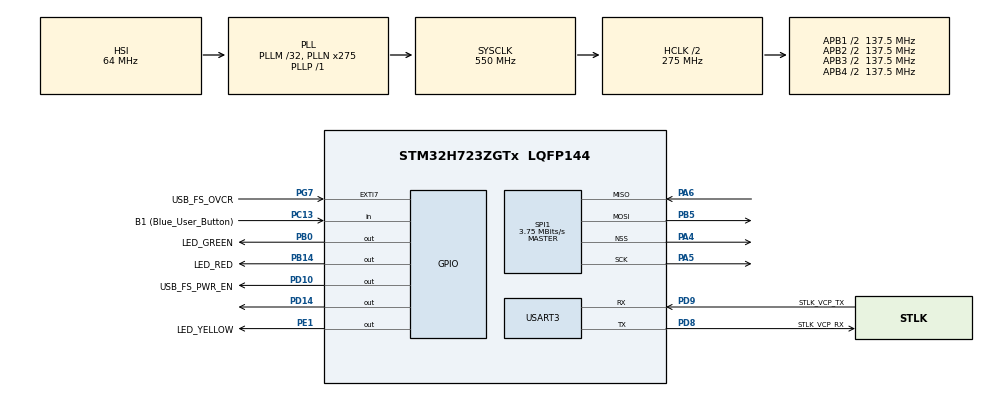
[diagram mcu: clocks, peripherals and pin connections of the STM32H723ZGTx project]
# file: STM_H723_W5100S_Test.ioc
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CORTEX_M7.CPU_DCache=Disabled
CORTEX_M7.CPU_ICache=Disabled
Dma.Request0=SPI1_RX
Dma.Request1=SPI1_TX
Dma.SPI1_RX.0.Direction=DMA_PERIPH_TO_MEMORY
Dma.SPI1_RX.0.EventEnable=DISABLE
Dma.SPI1_RX.0.FIFOMode=DMA_FIFOMODE_DISABLE
Dma.SPI1_RX.0.Instance=DMA1_Stream0
Dma.SPI1_RX.0.MemDataAlignment=DMA_MDATAALIGN_BYTE
Dma.SPI1_RX.0.MemInc=DMA_MINC_ENABLE
Dma.SPI1_RX.0.Mode=DMA_NORMAL
Dma.SPI1_RX.0.PeriphDataAlignment=DMA_PDATAALIGN_BYTE
Dma.SPI1_RX.0.PeriphInc=DMA_PINC_DISABLE
Dma.SPI1_RX.0.Polarity=HAL_DMAMUX_REQ_GEN_RISING
Dma.SPI1_RX.0.Priority=DMA_PRIORITY_VERY_HIGH
Dma.SPI1_RX.0.RequestNumber=1
Dma.SPI1_RX.0.SignalID=NONE
Dma.SPI1_RX.0.SyncEnable=DISABLE
Dma.SPI1_RX.0.SyncPolarity=HAL_DMAMUX_SYNC_NO_EVENT
Dma.SPI1_RX.0.SyncRequestNumber=1
Dma.SPI1_RX.0.SyncSignalID=NONE
Dma.SPI1_TX.1.Direction=DMA_MEMORY_TO_PERIPH
Dma.SPI1_TX.1.EventEnable=DISABLE
Dma.SPI1_TX.1.FIFOMode=DMA_FIFOMODE_DISABLE
Dma.SPI1_TX.1.Instance=DMA1_Stream1
Dma.SPI1_TX.1.MemDataAlignment=DMA_MDATAALIGN_BYTE
Dma.SPI1_TX.1.MemInc=DMA_MINC_ENABLE
Dma.SPI1_TX.1.Mode=DMA_NORMAL
Dma.SPI1_TX.1.PeriphDataAlignment=DMA_PDATAALIGN_BYTE
Dma.SPI1_TX.1.PeriphInc=DMA_PINC_DISABLE
Dma.SPI1_TX.1.Polarity=HAL_DMAMUX_REQ_GEN_RISING
Dma.SPI1_TX.1.Priority=DMA_PRIORITY_VERY_HIGH
Dma.SPI1_TX.1.RequestNumber=1
Dma.SPI1_TX.1.SignalID=NONE
Dma.SPI1_TX.1.SyncEnable=DISABLE
Dma.SPI1_TX.1.SyncPolarity=HAL_DMAMUX_SYNC_NO_EVENT
Dma.SPI1_TX.1.SyncRequestNumber=1
Dma.SPI1_TX.1.SyncSignalID=NONE
Mcu.Family=STM32H7
Mcu.Name=STM32H723ZGTx
Mcu.Package=LQFP144
NVIC.DMA1_Stream0_IRQn=true\:0\:0\:false\:false\:true\:false\:true\:true
NVIC.DMA1_Stream1_IRQn=true\:0\:0\:false\:false\:true\:false\:true\:true
NVIC.PriorityGroup=NVIC_PRIORITYGROUP_4
NVIC.SPI1_IRQn=true\:0\:0\:false\:false\:true\:true\:true\:true
NVIC.USART3_IRQn=true\:0\:0\:false\:false\:true\:true\:true\:true
PA13(JTMS/SWDIO).GPIO_Label=SWDIO
PA13(JTMS/SWDIO).Mode=Trace_Asynchronous_SW
PA13(JTMS/SWDIO).Signal=DEBUG_JTMS-SWDIO
PA14(JTCK/SWCLK).GPIO_Label=SWCLK
PA14(JTCK/SWCLK).Mode=Trace_Asynchronous_SW
PA14(JTCK/SWCLK).Signal=DEBUG_JTCK-SWCLK
PA4.Mode=NSS_Signal_Hard_Output
PA4.Signal=SPI1_NSS
PA5.Mode=Full_Duplex_Master
PA5.Signal=SPI1_SCK
PA6.Mode=Full_Duplex_Master
PA6.Signal=SPI1_MISO
PB0.GPIO_Label=LED_GREEN
PB0.Signal=GPIO_Output
PB14.GPIO_Label=LED_RED
PB14.Signal=GPIO_Output
PB3(JTDO/TRACESWO).GPIO_Label=SWO
PB3(JTDO/TRACESWO).Mode=Trace_Asynchronous_SW
PB3(JTDO/TRACESWO).Signal=DEBUG_JTDO-SWO
PB5.Mode=Full_Duplex_Master
PB5.Signal=SPI1_MOSI
PC13.GPIO_Label=B1 (Blue_User_Button)
PC13.Signal=GPIO_Input
PC14-OSC32_IN.Mode=LSE-External-Oscillator
PC14-OSC32_IN.Signal=RCC_OSC32_IN
PC15-OSC32_OUT.Mode=LSE-External-Oscillator
PC15-OSC32_OUT.Signal=RCC_OSC32_OUT
PD10.GPIO_Label=USB_FS_PWR_EN
PD10.Signal=GPIO_Output
PD14.Signal=GPIO_Output
PD8.GPIO_Label=STLK_VCP_RX
PD8.Mode=Asynchronous
PD8.Signal=USART3_TX
PD9.GPIO_Label=STLK_VCP_TX
PD9.Mode=Asynchronous
PD9.Signal=USART3_RX
PE1.GPIO_Label=LED_YELLOW
PE1.Signal=GPIO_Output
PG7.GPIO_Label=USB_FS_OVCR
PG7.Signal=GPXTI7
PH0-OSC_IN.GPIO_Label=MCO
PH0-OSC_IN.Mode=HSE-External-Clock-Source
PH0-OSC_IN.Signal=RCC_OSC_IN
ProjectManager.HeapSize=0x200
ProjectManager.StackSize=0x400
ProjectManager.TargetToolchain=STM32CubeIDE
RCC.ADCFreq_Value=120000000
RCC.APB1Freq_Value=137500000
RCC.APB2Freq_Value=137500000
RCC.APB3Freq_Value=137500000
RCC.APB4Freq_Value=137500000
RCC.CortexFreq_Value=550000000
RCC.D1PPRE=RCC_APB3_DIV2
RCC.D2PPRE1=RCC_APB1_DIV2
RCC.D2PPRE2=RCC_APB2_DIV2
RCC.D3PPRE=RCC_APB4_DIV2
RCC.DIVM2=4
RCC.DIVN1=275
RCC.DIVN2=30
RCC.DIVP1=1
RCC.DIVP2=4
RCC.DIVQ1=4
RCC.DIVQ2=4
RCC.HCLKFreq_Value=275000000
RCC.HPRE=RCC_HCLK_DIV2
RCC.HSE_VALUE=8000000
RCC.PLL2FRACN=0
RCC.PLL3FRACN=0
RCC.PLLFRACN=0
RCC.SPI123CLockSelection=RCC_SPI123CLKSOURCE_PLL2
RCC.SYSCLKFreq_VALUE=550000000
RCC.SYSCLKSource=RCC_SYSCLKSOURCE_PLLCLK
RCC.USBCLockSelection=RCC_USBCLKSOURCE_HSI48
RCC.USBFreq_Value=48000000
SPI1.BaudRatePrescaler=SPI_BAUDRATEPRESCALER_32
SPI1.CalculateBaudRate=3.75 MBits/s
SPI1.DataSize=SPI_DATASIZE_8BIT
SPI1.Direction=SPI_DIRECTION_2LINES
SPI1.Mode=SPI_MODE_MASTER
SPI1.VirtualNSS=VM_NSSHARD
SPI1.VirtualType=VM_MASTER
USART3.VirtualMode-Asynchronous=VM_ASYNC
board=NUCLEO-H723ZG

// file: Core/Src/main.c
/* USER CODE BEGIN Header */
/**
  ******************************************************************************
  * @file           : main.c
  * @brief          : Main program body
  ******************************************************************************
  * @attention
  *
  * Copyright (c) 2023 STMicroelectronics.
  * All rights reserved.
  *
  * This software is licensed under terms that can be found in the LICENSE file
  * in the root directory of this software component.
  * If no LICENSE file comes with this software, it is provided AS-IS.
  *
  ******************************************************************************
  */
/* USER CODE END Header */
#include "main.h"

/* USER CODE BEGIN Includes */
#include "stdio.h"
#include "string.h"
#include "stdlib.h"
#include "loopback.h"
#include "wizchip_conf.h"
#define ETH_MAX_BUF_SIZE 2048

/* USER CODE END Includes */

SPI_HandleTypeDef hspi1;
DMA_HandleTypeDef hdma_spi1_rx;
DMA_HandleTypeDef hdma_spi1_tx;

UART_HandleTypeDef huart3;

/* USER CODE BEGIN PV */
wiz_NetInfo defaultNetInfo = { .mac = {0x00,0x08,0xdc,0xff,0xee,0xdd},
							.ip = {192,168,15,111},
							.sn = {255,255,255,0},
							.gw = {192,168,15,1},
							.dns = {168, 126, 63, 1},
							.dhcp = NETINFO_STATIC};

unsigned char gServer_IP[4] = {192,168,15,4};
unsigned char ethBuf0[ETH_MAX_BUF_SIZE];
/* USER CODE END PV */

void SystemClock_Config(void);
static void MX_GPIO_Init(void);
static void MX_DMA_Init(void);
static void MX_USART3_UART_Init(void);
static void MX_SPI1_Init(void);
/* USER CODE BEGIN PFP */
uint8_t rxData[2];
uint8_t SPI_tx_buff[1024] = {0,};
uint8_t SPI_rx_buff[1024] = {0,};
uint8_t SPI_DMA_flag = 0;
//HAL_StatusTypeDef HAL_SPI_TransmitReceive_DMA_1(SPI_HandleTypeDef *hspi, const uint8_t *pTxData, uint8_t *pRxData,
//		uint16_t TxSize,uint16_t RxSize);
int _write(int fd, char *str, int len)
{
	for(int i=0; i<len; i++)
	{
		HAL_UART_Transmit(&huart3, (uint8_t *)&str[i], 1, 0xFFFF);
	}
	return len;
}

void HAL_UART_RxCpltCallback(UART_HandleTypeDef *huart) {

    /*
        This will be called once data is received successfully,
        via interrupts.
    */

     /*
       loop back received data
     */
     HAL_UART_Receive_IT(&huart3, rxData, 1);
     HAL_UART_Transmit(&huart3, rxData, 1, 1000);
}
void HAL_SPI_TxRxCpltCallback(SPI_HandleTypeDef *hspi)
{
	//printf("SPI DMA Complete\r\n");
	SPI_DMA_flag = 1;
}
void HAL_SPI_TxCpltCallback(SPI_HandleTypeDef *hspi)
{
	SPI_DMA_flag = 1;
}
//HAL_SPI_TxRxCpltCallback(SPI_HandleTypeDef *hspi)
//void HAL_SPI_TxCpltCallback(SPI_HandleTypeDef *hspi)
//void HAL_SPI_RxCpltCallback(SPI_HandleTypeDef *hspi)
#define GPIO_CS 0
void csEnable(void)
{
#if GPIO_CS
	HAL_GPIO_WritePin(GPIOD, GPIO_PIN_14, GPIO_PIN_RESET);
#endif
}

void csDisable(void)
{
#if GPIO_CS
	HAL_GPIO_WritePin(GPIOD, GPIO_PIN_14, GPIO_PIN_SET);
#endif
}
uint8_t dma_write_data(uint16_t address, uint8_t *buff, uint16_t len)
{

	uint8_t *temp_pbuf = NULL;
	uint8_t *pbuf = (uint8_t*)calloc(len + 4, sizeof(uint8_t));
	temp_pbuf = pbuf;
	*temp_pbuf++ = 0xF0;
	*temp_pbuf++ = (address & 0xFF00)>>8;
	*temp_pbuf++ = (address & 0x00FF);
	memcpy(temp_pbuf, buff, len);
	SPI_DMA_flag = 0;
	HAL_SPI_Transmit_DMA(&hspi1, pbuf, len+3);
	while(SPI_DMA_flag == 0);
	free(pbuf);
	return 0;
}
uint8_t dma_read_data(uint16_t address, uint8_t *buff, uint16_t len)
{
	//uint8_t temp_pbuf[3] = {0,};
	//uint8_t *pbuf = (uint8_t*)calloc(len + 4, sizeof(uint8_t));
	uint8_t *temp_pbuf = (uint8_t*)calloc(len + 4, sizeof(uint8_t));
	temp_pbuf[0] = 0x0F;
	temp_pbuf[1] = (address & 0xFF00)>>8;
	temp_pbuf[2] = (address & 0x00FF);
	//memcpy(temp_pbuf, buff, len);
	//HAL_SPI_TransmitReceive_DMA_1(&hspi1,temp_pbuf, buff, 3, len);
	SPI_DMA_flag = 0;
	while (HAL_SPI_TransmitReceive_DMA(&hspi1,temp_pbuf, SPI_rx_buff, len + 3) != HAL_OK);
	while(SPI_DMA_flag == 0);
	memcpy(buff,SPI_rx_buff + 3, len);
	free(temp_pbuf);
	//free(pbuf);
	return len;
}
void spiWriteByte(uint8_t tx)
{
	uint8_t rx;
	HAL_SPI_TransmitReceive(&hspi1, &tx, &rx, 1, 10);
}

uint8_t spiReadByte(void)
{
	uint8_t rx = 0, tx = 0xFF;
	HAL_SPI_TransmitReceive(&hspi1, &tx, &rx, 1, 10);
	return rx;
}
void spiBustWriteByte(uint8_t *buf, uint16_t len)
{
	HAL_SPI_Transmit_DMA(&hspi1, buf, len);
}
void spiBustReadByte(uint8_t *buf, uint16_t len)
{
	HAL_SPI_Receive_DMA(&hspi1, buf, len);
	//HAL_SPI_TransmitReceive_DMA
}
void print_network_information()
{
	wiz_NetInfo gWIZNETINFO;
	wizchip_getnetinfo(&gWIZNETINFO);

	printf("Mac address: %02x:%02x:%02x:%02x:%02x:%02x\n\r",gWIZNETINFO.mac[0],gWIZNETINFO.mac[1],gWIZNETINFO.mac[2],gWIZNETINFO.mac[3],gWIZNETINFO.mac[4],gWIZNETINFO.mac[5]);
	printf("IP address : %d.%d.%d.%d\n\r",gWIZNETINFO.ip[0],gWIZNETINFO.ip[1],gWIZNETINFO.ip[2],gWIZNETINFO.ip[3]);
	printf("SM Mask	   : %d.%d.%d.%d\n\r",gWIZNETINFO.sn[0],gWIZNETINFO.sn[1],gWIZNETINFO.sn[2],gWIZNETINFO.sn[3]);
	printf("Gate way   : %d.%d.%d.%d\n\r",gWIZNETINFO.gw[0],gWIZNETINFO.gw[1],gWIZNETINFO.gw[2],gWIZNETINFO.gw[3]);
	printf("DNS Server : %d.%d.%d.%d\n\r",gWIZNETINFO.dns[0],gWIZNETINFO.dns[1],gWIZNETINFO.dns[2],gWIZNETINFO.dns[3]);
}

void Display_Net_Conf()
{
	uint8_t tmpstr[6] = {0,};
	wiz_NetInfo gWIZNETINFO;

	ctlnetwork(CN_GET_NETINFO, (void*) &gWIZNETINFO);
	ctlwizchip(CW_GET_ID,(void*)tmpstr);

	// Display Network Information
	if(gWIZNETINFO.dhcp == NETINFO_DHCP) printf("\r\n===== %s NET CONF : DHCP =====\r\n",(char*)tmpstr);
		else printf("\r\n===== %s NET CONF : Static =====\r\n",(char*)tmpstr);

	printf("\r\nMAC: %02X:%02X:%02X:%02X:%02X:%02X\r\n", gWIZNETINFO.mac[0], gWIZNETINFO.mac[1], gWIZNETINFO.mac[2], gWIZNETINFO.mac[3], gWIZNETINFO.mac[4], gWIZNETINFO.mac[5]);
	printf("IP: %d.%d.%d.%d\r\n", gWIZNETINFO.ip[0], gWIZNETINFO.ip[1], gWIZNETINFO.ip[2], gWIZNETINFO.ip[3]);
	printf("GW: %d.%d.%d.%d\r\n", gWIZNETINFO.gw[0], gWIZNETINFO.gw[1], gWIZNETINFO.gw[2], gWIZNETINFO.gw[3]);
	printf("SN: %d.%d.%d.%d\r\n", gWIZNETINFO.sn[0], gWIZNETINFO.sn[1], gWIZNETINFO.sn[2], gWIZNETINFO.sn[3]);
	printf("DNS: %d.%d.%d.%d\r\n", gWIZNETINFO.dns[0], gWIZNETINFO.dns[1], gWIZNETINFO.dns[2], gWIZNETINFO.dns[3]);
}
void W5100S_Initialze(void)
{
	intr_kind temp;
	unsigned char W5100S_AdrSet[2][4] = {{2,2,2,2},{2,2,2,2}};
	csDisable();
	/*
	 */
	reg_wizchip_cs_cbfunc(csEnable, csDisable);
	reg_wizchip_spi_cbfunc(spiReadByte,spiWriteByte);
	reg_wizchip_spiburst_cbfunc(spiBustReadByte, spiBustWriteByte);
	temp = IK_DEST_UNREACH;

	if(ctlwizchip(CW_INIT_WIZCHIP,(void*)W5100S_AdrSet) == -1)
	{
		printf("W5100S initialized fail.\r\n");
	}

	if(ctlwizchip(CW_SET_INTRMASK,&temp) == -1)
	{
		printf("W5100S interrupt\r\n");
	}

	do{//check phy status.
		if(ctlwizchip(CW_GET_PHYLINK,(void*)&temp) == -1){
			printf("Unknown PHY link status.\r\n");
		}
	}while(temp == PHY_LINK_OFF);

	/*uint8_t tmp;
	uint8_t memsize[2][8] = { {2,2,2,2,2,2,2,2},{2,2,2,2,2,2,2,2}};
	if(ctlwizchip(CW_INIT_WIZCHIP,(void*)memsize) == -1)
	{
		//myprintf("WIZCHIP Initialized fail.\r\n");
		HAL_UART_Transmit(&huart2, (uint8_t *)"WIZCHIP Initialized fail.\r\n", 1, 10);
	  return;
	}*/

	/* PHY link status check */
	/*do {
		if(ctlwizchip(CW_GET_PHYLINK, (void*)&tmp) == -1)
		{
		  HAL_UART_Transmit(&huart2, (uint8_t *)"Unknown PHY Link status.\r\n", 1, 10);
		  return;
		}
	} while (tmp == PHY_LINK_OFF);
	*/
}
/* USER CODE END PFP */

int main(void)
{
  /* USER CODE BEGIN 1 */
	uint8_t test_read[10] = {0,};
  /* USER CODE END 1 */

  /* MCU Configuration--------------------------------------------------------*/

  /* Reset of all peripherals, Initializes the Flash interface and the Systick. */
  HAL_Init();

  /* Configure the system clock */
  SystemClock_Config();

  /* Initialize all configured peripherals */
  MX_GPIO_Init();
  MX_DMA_Init();
  MX_USART3_UART_Init();
  MX_SPI1_Init();
  /* USER CODE BEGIN 2 */
  printf("W5100S test \r\n");
  HAL_UART_Receive_IT(&huart3, rxData, 1);
  HAL_Delay(500);
  printf("W5100S Init \r\n");
  dma_read_data(0x0017,test_read, 2);
  printf("test_read = 0x%02x %02x %02x %02x %02x \r\n", test_read[0], test_read[1], test_read[2], test_read[3], test_read[4]);
  W5100S_Initialze();
  printf("Set Netdata \r\n");
  wizchip_setnetinfo(&defaultNetInfo);
  //Display_Net_Conf();
  //reg_wizchip_spiburst_cbfunc(spiBustReadByte, spiBustWriteByte);
  print_network_information();

  /* USER CODE END 2 */

  /* Infinite loop */
  /* USER CODE BEGIN WHILE */
  while (1)
  {
	  loopback_tcps(0,ethBuf0,5000);
    /* USER CODE END WHILE */

  }
}

void SystemClock_Config(void)
{
  RCC_OscInitTypeDef RCC_OscInitStruct = {0};
  RCC_ClkInitTypeDef RCC_ClkInitStruct = {0};

  /** Supply configuration update enable
  */
  HAL_PWREx_ConfigSupply(PWR_LDO_SUPPLY);

  /** Configure the main internal regulator output voltage
  */
  __HAL_PWR_VOLTAGESCALING_CONFIG(PWR_REGULATOR_VOLTAGE_SCALE0);

  while(!__HAL_PWR_GET_FLAG(PWR_FLAG_VOSRDY)) {}

  /** Macro to configure the PLL clock source
  */
  __HAL_RCC_PLL_PLLSOURCE_CONFIG(RCC_PLLSOURCE_HSI);

  /** Initializes the RCC Oscillators according to the specified parameters
  * in the RCC_OscInitTypeDef structure.
  */
  RCC_OscInitStruct.OscillatorType = RCC_OSCILLATORTYPE_HSI;
  RCC_OscInitStruct.HSIState = RCC_HSI_DIV1;
  RCC_OscInitStruct.HSICalibrationValue = 64;
  RCC_OscInitStruct.PLL.PLLState = RCC_PLL_ON;
  RCC_OscInitStruct.PLL.PLLSource = RCC_PLLSOURCE_HSI;
  RCC_OscInitStruct.PLL.PLLM = 32;
  RCC_OscInitStruct.PLL.PLLN = 275;
  RCC_OscInitStruct.PLL.PLLP = 1;
  RCC_OscInitStruct.PLL.PLLQ = 4;
  RCC_OscInitStruct.PLL.PLLR = 2;
  RCC_OscInitStruct.PLL.PLLRGE = RCC_PLL1VCIRANGE_1;
  RCC_OscInitStruct.PLL.PLLVCOSEL = RCC_PLL1VCOWIDE;
  RCC_OscInitStruct.PLL.PLLFRACN = 0;
  if (HAL_RCC_OscConfig(&RCC_OscInitStruct) != HAL_OK)
  {
    Error_Handler();
  }

  /** Initializes the CPU, AHB and APB buses clocks
  */
  RCC_ClkInitStruct.ClockType = RCC_CLOCKTYPE_HCLK|RCC_CLOCKTYPE_SYSCLK
                              |RCC_CLOCKTYPE_PCLK1|RCC_CLOCKTYPE_PCLK2
                              |RCC_CLOCKTYPE_D3PCLK1|RCC_CLOCKTYPE_D1PCLK1;
  RCC_ClkInitStruct.SYSCLKSource = RCC_SYSCLKSOURCE_PLLCLK;
  RCC_ClkInitStruct.SYSCLKDivider = RCC_SYSCLK_DIV1;
  RCC_ClkInitStruct.AHBCLKDivider = RCC_HCLK_DIV2;
  RCC_ClkInitStruct.APB3CLKDivider = RCC_APB3_DIV2;
  RCC_ClkInitStruct.APB1CLKDivider = RCC_APB1_DIV2;
  RCC_ClkInitStruct.APB2CLKDivider = RCC_APB2_DIV2;
  RCC_ClkInitStruct.APB4CLKDivider = RCC_APB4_DIV2;

  if (HAL_RCC_ClockConfig(&RCC_ClkInitStruct, FLASH_LATENCY_3) != HAL_OK)
  {
    Error_Handler();
  }
}

static void MX_SPI1_Init(void)
{

  /* SPI1 parameter configuration*/
  hspi1.Instance = SPI1;
  hspi1.Init.Mode = SPI_MODE_MASTER;
  hspi1.Init.Direction = SPI_DIRECTION_2LINES;
  hspi1.Init.DataSize = SPI_DATASIZE_8BIT;
  hspi1.Init.CLKPolarity = SPI_POLARITY_LOW;
  hspi1.Init.CLKPhase = SPI_PHASE_1EDGE;
  hspi1.Init.NSS = SPI_NSS_HARD_OUTPUT;
  hspi1.Init.BaudRatePrescaler = SPI_BAUDRATEPRESCALER_32;
  hspi1.Init.FirstBit = SPI_FIRSTBIT_MSB;
  hspi1.Init.TIMode = SPI_TIMODE_DISABLE;
  hspi1.Init.CRCCalculation = SPI_CRCCALCULATION_DISABLE;
  hspi1.Init.CRCPolynomial = 0x0;
  hspi1.Init.NSSPMode = SPI_NSS_PULSE_ENABLE;
  hspi1.Init.NSSPolarity = SPI_NSS_POLARITY_LOW;
  hspi1.Init.FifoThreshold = SPI_FIFO_THRESHOLD_01DATA;
  hspi1.Init.TxCRCInitializationPattern = SPI_CRC_INITIALIZATION_ALL_ZERO_PATTERN;
  hspi1.Init.RxCRCInitializationPattern = SPI_CRC_INITIALIZATION_ALL_ZERO_PATTERN;
  hspi1.Init.MasterSSIdleness = SPI_MASTER_SS_IDLENESS_00CYCLE;
  hspi1.Init.MasterInterDataIdleness = SPI_MASTER_INTERDATA_IDLENESS_00CYCLE;
  hspi1.Init.MasterReceiverAutoSusp = SPI_MASTER_RX_AUTOSUSP_DISABLE;
  hspi1.Init.MasterKeepIOState = SPI_MASTER_KEEP_IO_STATE_DISABLE;
  hspi1.Init.IOSwap = SPI_IO_SWAP_DISABLE;
  if (HAL_SPI_Init(&hspi1) != HAL_OK)
  {
    Error_Handler();
  }

}

static void MX_USART3_UART_Init(void)
{

  huart3.Instance = USART3;
  huart3.Init.BaudRate = 115200;
  huart3.Init.WordLength = UART_WORDLENGTH_8B;
  huart3.Init.StopBits = UART_STOPBITS_1;
  huart3.Init.Parity = UART_PARITY_NONE;
  huart3.Init.Mode = UART_MODE_TX_RX;
  huart3.Init.HwFlowCtl = UART_HWCONTROL_NONE;
  huart3.Init.OverSampling = UART_OVERSAMPLING_16;
  huart3.Init.OneBitSampling = UART_ONE_BIT_SAMPLE_DISABLE;
  huart3.Init.ClockPrescaler = UART_PRESCALER_DIV1;
  huart3.AdvancedInit.AdvFeatureInit = UART_ADVFEATURE_NO_INIT;
  if (HAL_UART_Init(&huart3) != HAL_OK)
  {
    Error_Handler();
  }
  if (HAL_UARTEx_SetTxFifoThreshold(&huart3, UART_TXFIFO_THRESHOLD_1_8) != HAL_OK)
  {
    Error_Handler();
  }
  if (HAL_UARTEx_SetRxFifoThreshold(&huart3, UART_RXFIFO_THRESHOLD_1_8) != HAL_OK)
  {
    Error_Handler();
  }
  if (HAL_UARTEx_DisableFifoMode(&huart3) != HAL_OK)
  {
    Error_Handler();
  }

}

static void MX_DMA_Init(void)
{

  /* DMA controller clock enable */
  __HAL_RCC_DMA1_CLK_ENABLE();

  /* DMA interrupt init */
  /* DMA1_Stream0_IRQn interrupt configuration */
  HAL_NVIC_SetPriority(DMA1_Stream0_IRQn, 0, 0);
  HAL_NVIC_EnableIRQ(DMA1_Stream0_IRQn);
  /* DMA1_Stream1_IRQn interrupt configuration */
  HAL_NVIC_SetPriority(DMA1_Stream1_IRQn, 0, 0);
  HAL_NVIC_EnableIRQ(DMA1_Stream1_IRQn);

}

static void MX_GPIO_Init(void)
{
  GPIO_InitTypeDef GPIO_InitStruct = {0};

  /* GPIO Ports Clock Enable */
  __HAL_RCC_GPIOC_CLK_ENABLE();
  __HAL_RCC_GPIOH_CLK_ENABLE();
  __HAL_RCC_GPIOA_CLK_ENABLE();
  __HAL_RCC_GPIOB_CLK_ENABLE();
  __HAL_RCC_GPIOD_CLK_ENABLE();
  __HAL_RCC_GPIOG_CLK_ENABLE();
  __HAL_RCC_GPIOE_CLK_ENABLE();

  /*Configure GPIO pin Output Level */
  HAL_GPIO_WritePin(GPIOB, LED_GREEN_Pin|LED_RED_Pin, GPIO_PIN_RESET);

  /*Configure GPIO pin Output Level */
  HAL_GPIO_WritePin(GPIOD, USB_FS_PWR_EN_Pin|GPIO_PIN_14, GPIO_PIN_RESET);

  /*Configure GPIO pin Output Level */
  HAL_GPIO_WritePin(LED_YELLOW_GPIO_Port, LED_YELLOW_Pin, GPIO_PIN_RESET);

  /*Configure GPIO pin : B1_Pin */
  GPIO_InitStruct.Pin = B1_Pin;
  GPIO_InitStruct.Mode = GPIO_MODE_INPUT;
  GPIO_InitStruct.Pull = GPIO_NOPULL;
  HAL_GPIO_Init(B1_GPIO_Port, &GPIO_InitStruct);

  /*Configure GPIO pins : LED_GREEN_Pin LED_RED_Pin */
  GPIO_InitStruct.Pin = LED_GREEN_Pin|LED_RED_Pin;
  GPIO_InitStruct.Mode = GPIO_MODE_OUTPUT_PP;
  GPIO_InitStruct.Pull = GPIO_NOPULL;
  GPIO_InitStruct.Speed = GPIO_SPEED_FREQ_LOW;
  HAL_GPIO_Init(GPIOB, &GPIO_InitStruct);

  /*Configure GPIO pins : USB_FS_PWR_EN_Pin PD14 */
  GPIO_InitStruct.Pin = USB_FS_PWR_EN_Pin|GPIO_PIN_14;
  GPIO_InitStruct.Mode = GPIO_MODE_OUTPUT_PP;
  GPIO_InitStruct.Pull = GPIO_NOPULL;
  GPIO_InitStruct.Speed = GPIO_SPEED_FREQ_LOW;
  HAL_GPIO_Init(GPIOD, &GPIO_InitStruct);

  /*Configure GPIO pin : USB_FS_OVCR_Pin */
  GPIO_InitStruct.Pin = USB_FS_OVCR_Pin;
  GPIO_InitStruct.Mode = GPIO_MODE_IT_RISING;
  GPIO_InitStruct.Pull = GPIO_NOPULL;
  HAL_GPIO_Init(USB_FS_OVCR_GPIO_Port, &GPIO_InitStruct);

  /*Configure GPIO pin : LED_YELLOW_Pin */
  GPIO_InitStruct.Pin = LED_YELLOW_Pin;
  GPIO_InitStruct.Mode = GPIO_MODE_OUTPUT_PP;
  GPIO_InitStruct.Pull = GPIO_NOPULL;
  GPIO_InitStruct.Speed = GPIO_SPEED_FREQ_LOW;
  HAL_GPIO_Init(LED_YELLOW_GPIO_Port, &GPIO_InitStruct);

}

void Error_Handler(void)
{
  __disable_irq();
  while (1)
  {
  }
}
